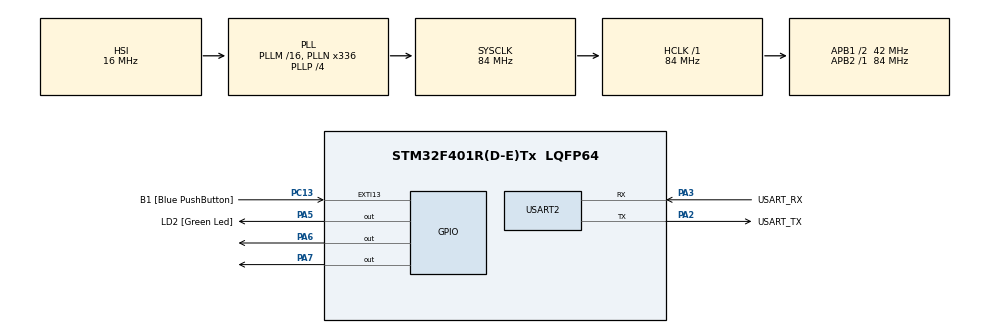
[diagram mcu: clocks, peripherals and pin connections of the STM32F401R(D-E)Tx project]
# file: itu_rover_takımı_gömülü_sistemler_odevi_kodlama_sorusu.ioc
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Mcu.Family=STM32F4
Mcu.Name=STM32F401R(D-E)Tx
Mcu.Package=LQFP64
NVIC.PriorityGroup=NVIC_PRIORITYGROUP_4
NVIC.USART2_IRQn=true\:0\:0\:false\:false\:true\:true\:true\:true
PA13.GPIO_Label=TMS
PA13.Mode=Trace_Asynchronous_SW
PA13.Signal=SYS_JTMS-SWDIO
PA14.GPIO_Label=TCK
PA14.Mode=Trace_Asynchronous_SW
PA14.Signal=SYS_JTCK-SWCLK
PA2.GPIO_Label=USART_TX
PA2.GPIO_Mode=GPIO_MODE_AF_PP
PA2.GPIO_PuPd=GPIO_NOPULL
PA2.GPIO_Speed=GPIO_SPEED_FREQ_LOW
PA2.Mode=Asynchronous
PA2.Signal=USART2_TX
PA3.GPIO_Label=USART_RX
PA3.GPIO_Mode=GPIO_MODE_AF_PP
PA3.GPIO_PuPd=GPIO_NOPULL
PA3.GPIO_Speed=GPIO_SPEED_FREQ_LOW
PA3.Mode=Asynchronous
PA3.Signal=USART2_RX
PA5.GPIO_Label=LD2 [Green Led]
PA5.GPIO_Mode=GPIO_MODE_OUTPUT_PP
PA5.GPIO_PuPd=GPIO_NOPULL
PA5.GPIO_Speed=GPIO_SPEED_FREQ_LOW
PA5.Signal=GPIO_Output
PA6.Signal=GPIO_Output
PA7.Signal=GPIO_Output
PB3.GPIO_Label=SWO
PB3.Mode=Trace_Asynchronous_SW
PB3.Signal=SYS_JTDO-SWO
PC13-ANTI_TAMP.GPIO_Label=B1 [Blue PushButton]
PC13-ANTI_TAMP.GPIO_ModeDefaultEXTI=GPIO_MODE_IT_FALLING
PC13-ANTI_TAMP.GPIO_PuPd=GPIO_NOPULL
PC13-ANTI_TAMP.Signal=GPXTI13
PC14-OSC32_IN.Mode=LSE-External-Oscillator
PC14-OSC32_IN.Signal=RCC_OSC32_IN
PC15-OSC32_OUT.Mode=LSE-External-Oscillator
PC15-OSC32_OUT.Signal=RCC_OSC32_OUT
PH0\ -\ OSC_IN.Mode=HSE-External-Clock-Source
PH0\ -\ OSC_IN.Signal=RCC_OSC_IN
PH1\ -\ OSC_OUT.Mode=HSE-External-Clock-Source
PH1\ -\ OSC_OUT.Signal=RCC_OSC_OUT
ProjectManager.HeapSize=0x200
ProjectManager.StackSize=0x400
ProjectManager.TargetToolchain=STM32CubeIDE
RCC.48MHZClocksFreq_Value=48000000
RCC.AHBFreq_Value=84000000
RCC.APB1CLKDivider=RCC_HCLK_DIV2
RCC.APB1Freq_Value=42000000
RCC.APB1TimFreq_Value=84000000
RCC.APB2Freq_Value=84000000
RCC.APB2TimFreq_Value=84000000
RCC.CortexFreq_Value=84000000
RCC.HCLKFreq_Value=84000000
RCC.HSE_VALUE=8000000
RCC.HSI_VALUE=16000000
RCC.PLLN=336
RCC.PLLP=RCC_PLLP_DIV4
RCC.PLLQ=7
RCC.SYSCLKFreq_VALUE=84000000
RCC.SYSCLKSource=RCC_SYSCLKSOURCE_PLLCLK
RCC.VCOOutputFreq_Value=336000000
USART2.VirtualMode=VM_ASYNC
board=NUCLEO-F401RE

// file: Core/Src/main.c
/* USER CODE BEGIN Header */
/**
  ******************************************************************************
  * @file           : main.c
  * @brief          : Main program body
  ******************************************************************************
  * @attention
  *
  * Copyright (c) 2026 STMicroelectronics.
  * All rights reserved.
  *
  * This software is licensed under terms that can be found in the LICENSE file
  * in the root directory of this software component.
  * If no LICENSE file comes with this software, it is provided AS-IS.
  *
  ******************************************************************************
  */
/* USER CODE END Header */
#include "main.h"

UART_HandleTypeDef huart2;

/* USER CODE BEGIN PV */
uint8_t rx_buffer[2]; //kullanıcıdan alınacak 0,1 veya 2den oluşan 2 karakterlik veriyi tutacak olan array
/* USER CODE END PV */

void SystemClock_Config(void);
static void MX_GPIO_Init(void);
static void MX_USART2_UART_Init(void);

int main(void)
{

  /* MCU Configuration--------------------------------------------------------*/

  /* Reset of all peripherals, Initializes the Flash interface and the Systick. */
  HAL_Init();

  /* Configure the system clock */
  SystemClock_Config();

  /* Initialize all configured peripherals */
  MX_GPIO_Init();
  MX_USART2_UART_Init();
  /* USER CODE BEGIN 2 */
  HAL_UART_Receive_IT(&huart2, rx_buffer, 2); /*rx_buffer dizisi dolana kadar
  (2 karakter) işlemciyi bloklamadan arka planda UART dinlemesini başlatır*/

  /* USER CODE END 2 */

  /* Infinite loop */
  while (1)
  {

  }
}

void SystemClock_Config(void)
{
  RCC_OscInitTypeDef RCC_OscInitStruct = {0};
  RCC_ClkInitTypeDef RCC_ClkInitStruct = {0};

  /** Configure the main internal regulator output voltage
  */
  __HAL_RCC_PWR_CLK_ENABLE();
  __HAL_PWR_VOLTAGESCALING_CONFIG(PWR_REGULATOR_VOLTAGE_SCALE2);

  /** Initializes the RCC Oscillators according to the specified parameters
  * in the RCC_OscInitTypeDef structure.
  */
  RCC_OscInitStruct.OscillatorType = RCC_OSCILLATORTYPE_HSI;
  RCC_OscInitStruct.HSIState = RCC_HSI_ON;
  RCC_OscInitStruct.HSICalibrationValue = RCC_HSICALIBRATION_DEFAULT;
  RCC_OscInitStruct.PLL.PLLState = RCC_PLL_ON;
  RCC_OscInitStruct.PLL.PLLSource = RCC_PLLSOURCE_HSI;
  RCC_OscInitStruct.PLL.PLLM = 16;
  RCC_OscInitStruct.PLL.PLLN = 336;
  RCC_OscInitStruct.PLL.PLLP = RCC_PLLP_DIV4;
  RCC_OscInitStruct.PLL.PLLQ = 7;
  if (HAL_RCC_OscConfig(&RCC_OscInitStruct) != HAL_OK)
  {
    Error_Handler();
  }

  /** Initializes the CPU, AHB and APB buses clocks
  */
  RCC_ClkInitStruct.ClockType = RCC_CLOCKTYPE_HCLK|RCC_CLOCKTYPE_SYSCLK
                              |RCC_CLOCKTYPE_PCLK1|RCC_CLOCKTYPE_PCLK2;
  RCC_ClkInitStruct.SYSCLKSource = RCC_SYSCLKSOURCE_PLLCLK;
  RCC_ClkInitStruct.AHBCLKDivider = RCC_SYSCLK_DIV1;
  RCC_ClkInitStruct.APB1CLKDivider = RCC_HCLK_DIV2;
  RCC_ClkInitStruct.APB2CLKDivider = RCC_HCLK_DIV1;

  if (HAL_RCC_ClockConfig(&RCC_ClkInitStruct, FLASH_LATENCY_2) != HAL_OK)
  {
    Error_Handler();
  }
}

static void MX_USART2_UART_Init(void)
{

  huart2.Instance = USART2;
  huart2.Init.BaudRate = 115200;
  huart2.Init.WordLength = UART_WORDLENGTH_8B;
  huart2.Init.StopBits = UART_STOPBITS_1;
  huart2.Init.Parity = UART_PARITY_NONE;
  huart2.Init.Mode = UART_MODE_TX_RX;
  huart2.Init.HwFlowCtl = UART_HWCONTROL_NONE;
  huart2.Init.OverSampling = UART_OVERSAMPLING_16;
  if (HAL_UART_Init(&huart2) != HAL_OK)
  {
    Error_Handler();
  }

}

static void MX_GPIO_Init(void)
{
  GPIO_InitTypeDef GPIO_InitStruct = {0};

  /* GPIO Ports Clock Enable */
  __HAL_RCC_GPIOC_CLK_ENABLE();
  __HAL_RCC_GPIOH_CLK_ENABLE();
  __HAL_RCC_GPIOA_CLK_ENABLE();
  __HAL_RCC_GPIOB_CLK_ENABLE();

  /*Configure GPIO pin Output Level */
  HAL_GPIO_WritePin(GPIOA, LD2_Pin|GPIO_PIN_6|GPIO_PIN_7, GPIO_PIN_RESET);

  /*Configure GPIO pin : B1_Pin */
  GPIO_InitStruct.Pin = B1_Pin;
  GPIO_InitStruct.Mode = GPIO_MODE_IT_FALLING;
  GPIO_InitStruct.Pull = GPIO_NOPULL;
  HAL_GPIO_Init(B1_GPIO_Port, &GPIO_InitStruct);

  /*Configure GPIO pins : LD2_Pin PA6 PA7 */
  GPIO_InitStruct.Pin = LD2_Pin|GPIO_PIN_6|GPIO_PIN_7;
  GPIO_InitStruct.Mode = GPIO_MODE_OUTPUT_PP;
  GPIO_InitStruct.Pull = GPIO_NOPULL;
  GPIO_InitStruct.Speed = GPIO_SPEED_FREQ_LOW;
  HAL_GPIO_Init(GPIOA, &GPIO_InitStruct);

}

/* USER CODE BEGIN 4 */
void HAL_UART_RxCpltCallback(UART_HandleTypeDef *huart) /*UART veri alımı tamamlandığında
çalışmaya başlayan kesme fonksiyonu*/
{
    if (huart->Instance == USART2) /*gelen verinin doğru UART kanalından geldiğini kontrol etmek için*/
    {
        switch(rx_buffer[0]) /*gelen 2 karakterlik verideki ilk karakter yani rx_buffer[0] için switch-case ile GPIO pinini 0 ise low,
        1 ise High, 2 ise Toggle yapmak için.*/
        {
            case '0':
                HAL_GPIO_WritePin(GPIOA, GPIO_PIN_6, GPIO_PIN_RESET); /* kullanıcının girmiş olduğu ilk karakter
                yani rx_buffer[0] 0 ise GPIO_Output olarak seçilmiş PA6 pinini LOW'a ayarlar */
                break;
            case '1':
                HAL_GPIO_WritePin(GPIOA, GPIO_PIN_6, GPIO_PIN_SET); /* rx_buffer[0] 1 ise PA6 pinini HIGH yapar. */
                break;
            case '2':
                HAL_GPIO_TogglePin(GPIOA, GPIO_PIN_6); /*rx_buffer[0] 2 ise PA6 pinini toggle yapar yani high ise low, low ise high olur.*/
                break;
            default:
                break;
        }

        switch(rx_buffer[1]) /*aynı işlemleri kullanıcıdan gelmiş ve rx_buffer arayine kaydedilen 2. karakter için yapar*/
        {
            case '0':
                HAL_GPIO_WritePin(GPIOA, GPIO_PIN_7, GPIO_PIN_RESET); /*rx_buffer[1] 0 ise GPIO_Output seçilmiş
                PA7 pinini LOW yapar.*/
                break;
            case '1':
                HAL_GPIO_WritePin(GPIOA, GPIO_PIN_7, GPIO_PIN_SET); /*rx_buffer[1] 1 ise PA7 pinini HIGH yapar */
                break;
            case '2':
                HAL_GPIO_TogglePin(GPIOA, GPIO_PIN_7); /*rx_buffer[1] 2 ise PA7 pininin o anki halini tersine çevirir
              yani toggle yapar */
                break;
            default:
                break;
        }

        HAL_UART_Receive_IT(&huart2, rx_buffer, 2); /*gelen mesaja göre pinlerin durumları ayarlandıktan sonra
        yeni bir mesaj gelirse bu işlemlerin tekrarlanabilmesi için arka planda UART dinlemesini sürdürür.*/
    }
}

/* USER CODE END 4 */

void Error_Handler(void)
{
  __disable_irq();
  while (1)
  {
  }
}
